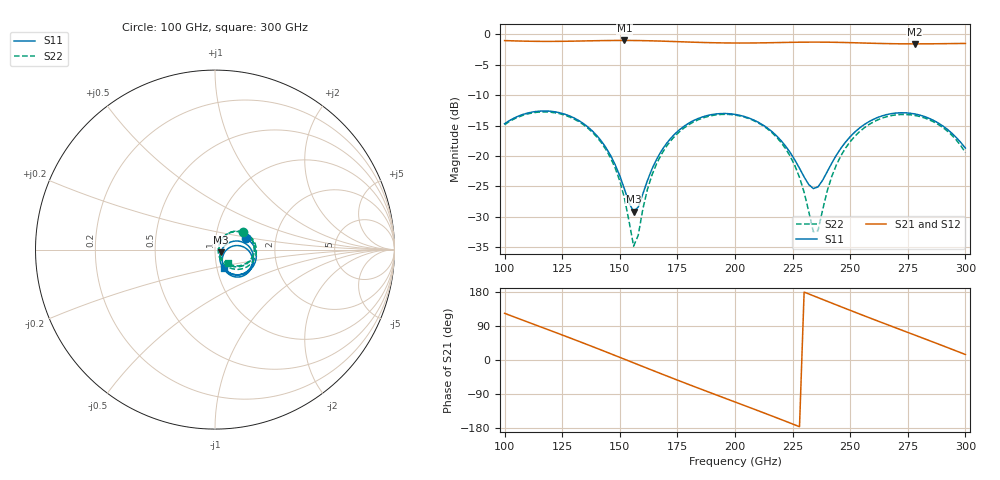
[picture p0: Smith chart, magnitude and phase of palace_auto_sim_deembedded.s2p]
! Created with skrf 1.11.0 (http://scikit-rf.org).
# GHz S DB R 50.0
!freq dBS11 angS11 dBS21 angS21 dBS12 angS12 dBS22 angS22
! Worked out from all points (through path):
!   101 points, 100 GHz to 300 GHz, reference 50 ohm
!   highest |S21| = -0.98 dB at 152 GHz (marker M1); lowest = -1.5 dB at 278 GHz (marker M2)
!   group delay of S21, straight-line fit = 6.53 ps
!   lowest |S11| = -29.2 dB at 156 GHz (marker M3), VSWR 1.07, Z = 53.2 - j1.58 ohm
!   |S11| at or under -10 dB: start of sweep to end of sweep
!   |S22| runs from -34.8 to -12.7 dB; largest |S21 - S12| = 1e-13
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100  -14.68 19.6  -1.00 123.2  -1.00 123.2  -14.84 32.2
116  -12.59 -13.0  -1.13 86.6  -1.13 86.6  -12.74 0.2
134  -14.60 -49.2  -1.06 45.1  -1.06 45.1  -14.79 -36.4
144  -18.62 -65.2  -1.00 21.4  -1.00 21.4  -18.94 -54.9
152  -25.42 -60.3  -0.98 2.1  -0.98 2.1  -26.90 -58.8
156  -29.15 -25.1  -0.99 -7.5  -0.99 -7.5  -34.83 -15.5
162  -24.02 23.1  -1.03 -22.0  -1.03 -22.0  -25.48 56.9
168  -19.19 24.7  -1.09 -36.4  -1.09 -36.4  -19.75 53.0
184  -13.82 -0.8  -1.29 -74.0  -1.29 -74.0  -14.03 23.8
200  -13.15 -30.4  -1.40 -110.8  -1.40 -110.8  -13.25 -7.7
212  -14.86 -50.7  -1.37 -138.4  -1.37 -138.4  -14.97 -30.8
222  -18.39 -62.2  -1.31 -161.8  -1.31 -161.8  -18.81 -48.3
228  -22.02 -59.0  -1.27 -176.1  -1.27 -176.1  -23.51 -53.4
234  -25.36 -29.2  -1.25 169.5  -1.25 169.5  -32.47 -17.9
236  -25.08 -14.3  -1.25 164.7  -1.25 164.7  -32.33 22.9
242  -21.17 9.4  -1.28 150.2  -1.28 150.2  -23.36 56.5
248  -17.69 9.9  -1.32 135.8  -1.32 135.8  -18.68 51.0
258  -14.37 -3.1  -1.43 112.2  -1.43 112.2  -14.85 33.0
268  -13.02 -20.3  -1.51 88.9  -1.51 88.9  -13.34 13.0
278  -13.07 -37.9  -1.54 65.9  -1.54 65.9  -13.32 -7.2
290  -15.00 -56.6  -1.51 38.1  -1.51 38.1  -15.25 -30.4
300  -18.70 -63.8  -1.47 14.5  -1.47 14.5  -19.42 -46.4
